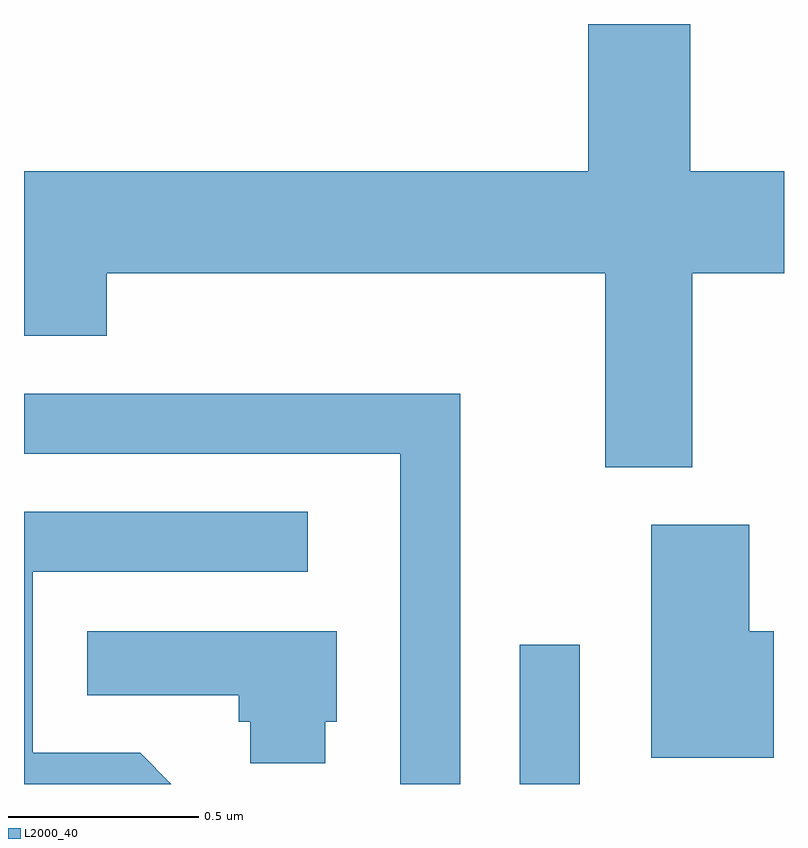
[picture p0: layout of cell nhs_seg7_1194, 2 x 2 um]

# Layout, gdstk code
import gdstk
lib = gdstk.Library(unit=1e-6, precision=1e-09)
def R(c, l, rs):  # rectangles x0, y0, x1, y1
    for r in rs: c.add(gdstk.rectangle(r[:2], r[2:], *l))
def P(c, l, *ps):  # polygons
    for p in ps: c.add(gdstk.Polygon(p, *l))
L2000_40 = (2000, 40)

nhs_seg7_1194 = lib.new_cell('nhs_seg7_1194')
R(nhs_seg7_1194, L2000_40, [(194.916,1766.252,195.074,1766.618)])
P(nhs_seg7_1194, L2000_40, [(195.369,1767.596),(195.611,1767.596),(195.611,1767.864),(195.364,1767.864),(195.364,1768.252),(195.096,1768.252),(195.096,1767.864),(193.611,1767.864),(193.611,1767.431),(193.829,1767.431),(193.829,1767.596),(195.141,1767.596),(195.141,1767.086),(195.369,1767.086)],
  [(194.759,1767.279),(193.611,1767.279),(193.611,1767.121),(194.601,1767.121),(194.601,1766.252),(194.759,1766.252)],
  [(193.917,1766.334),(193.634,1766.334),(193.634,1766.811),(194.358,1766.811),(194.358,1766.969),(193.611,1766.969),(193.611,1766.252),(193.999,1766.252)],
  [(195.584,1766.654),(195.519,1766.654),(195.519,1766.934),(195.261,1766.934),(195.261,1766.321),(195.584,1766.321)],
  [(194.404,1766.416),(194.434,1766.416),(194.434,1766.654),(193.778,1766.654),(193.778,1766.486),(194.176,1766.486),(194.176,1766.416),(194.206,1766.416),(194.206,1766.306),(194.404,1766.306)])

lib.write_gds('nhs_seg7_1194.gds')
